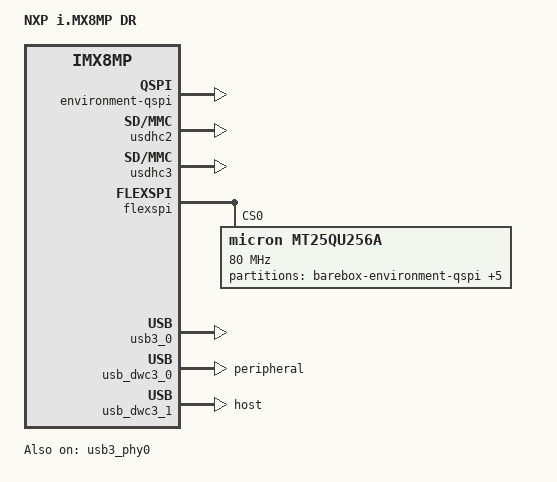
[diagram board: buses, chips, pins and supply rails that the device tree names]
// SPDX-License-Identifier: (GPL-2.0 OR MIT)
/*
 * Copyright 2017 Data Respons
 */

/dts-v1/;

#include <arm64/freescale/imx8mp-evk.dts>
#include "imx8mp.dtsi"

/ {
	model = "NXP i.MX8MP DR";
	aliases {
		mmc0 = &usdhc3;
		mmc1 = &usdhc2;
		state = &state_sd;
		ethernet0 = &fec;
	};

	chosen {
		environment-sd {
			compatible = "barebox,environment";
			device-path = &usdhc2, "partname:barebox-environment";
			status = "disabled";
		};
		environment-emmc {
			compatible = "barebox,environment";
			device-path = &usdhc3, "partname:barebox-environment";
			status = "disabled";
		};
		environment-qspi {
			compatible = "barebox,environment";
			device-path = &mt25qu256a, "partname:barebox-environment-qspi";
			status = "okay";
		};
	};

	state_sd: state {
		magic = <0x883b86a6>;
		compatible = "barebox,state";
		backend-type = "raw";
		backend = <&backend_state_usdhc>;
		backend-stridesize = <0x200>;
		status = "okay";
		/*backend-storage-type = "circular"; */

		#address-cells = <1>;
		#size-cells = <1>;
		bootstate {
			#address-cells = <1>;
			#size-cells = <1>;
			last_chosen {
				reg = <0x0 0x4>;
				type = "uint32";
			};
			system0 {
				#address-cells = <1>;
				#size-cells = <1>;
				remaining_attempts {
					reg = <0x4 0x4>;
					type = "uint32";
					default = <3>;
				};
				priority {
					reg = <0x8 0x4>;
					type = "uint32";
					default = <21>;
				};
				ok {
					reg = <0xc 0x4>;
					type = "uint32";
					default = <0>;
				};
			};
			system1 {
				#address-cells = <1>;
				#size-cells = <1>;
				remaining_attempts {
					reg = <0x10 0x4>;
					type = "uint32";
					default = <3>;
				};
				priority {
					reg = <0x14 0x4>;
					type = "uint32";
					default = <20>;
				};
				ok {
					reg = <0x18 0x4>;
					type = "uint32";
					default = <0>;
				};
			};
		};
	};

	gpio-leds {
		status {
			barebox,default-trigger = "heartbeat";
		};
	};


};

&iomuxc {
	pinctrl_flexspi0: flexspi0grp {
		fsl,pins = <
			MX8MP_IOMUXC_NAND_ALE__FLEXSPI_A_SCLK           0x1c2
			MX8MP_IOMUXC_NAND_CE0_B__FLEXSPI_A_SS0_B        0x82
			MX8MP_IOMUXC_NAND_DATA00__FLEXSPI_A_DATA00      0x82
			MX8MP_IOMUXC_NAND_DATA01__FLEXSPI_A_DATA01      0x82
			MX8MP_IOMUXC_NAND_DATA02__FLEXSPI_A_DATA02      0x82
			MX8MP_IOMUXC_NAND_DATA03__FLEXSPI_A_DATA03      0x82
		>;
	};
};


&ethphy1 {
	reset-assert-us = <15000>;
	reset-deassert-us = <100000>;
};

&fec {
	status = "disabled";
};

&usdhc2 {
	status = "okay";
};

&usdhc3 {
	status = "okay";

	partitions {
		compatible = "fixed-partitions";
		#size-cells = <1>;
		#address-cells = <1>;
		partition@0 {
			label = "barebox";
			reg = <0x0 0xe0000>;
		};

		partition@e0000 {
			label = "barebox-environment";
			reg = <0xe0000 0x20000>;
		};

		backend_state_usdhc: partition@100000 {
			reg = <0x100000 0x100000>;
			label = "state-emmc";
		};
	};
};

&ocotp {
	barebox,provide-mac-address = <&fec 0x640>;
};

&flexspi {
	pinctrl-names = "default";
	pinctrl-0 = <&pinctrl_flexspi0>;
	status = "okay";

	mt25qu256a: flash@0 {
		reg = <0>;
		#address-cells = <1>;
		#size-cells = <1>;
		compatible = "micron,mt25qu256a", "jedec,spi-nor";
		spi-max-frequency = <80000000>;
		spi-tx-bus-width = <1>;
		spi-rx-bus-width = <4>;
		spi-nor,ddr-quad-read-dummy = <6>;

	};
};

&mt25qu256a {
	partitions {
		compatible = "fixed-partitions";
		#address-cells = <1>;
		#size-cells = <1>;

		partition@0 {
			label = "barebox-environment-qspi";
			reg = <0x0 0x200000>;
		};

		backend_state_qspi: state@200000 {
			label = "barebox-state";
			reg = <0x200000 0x200000>;
		};

		partition@400000 {
			label = "system_a";
			reg = <0x400000 0x40000>;
		};
		partition@440000 {
			label = "system_b";
			reg = <0x440000 0x40000>;
		};

		partition@480000 {
			label = "user_a";
			reg = <0x480000 0x40000>;
		};
		partition@4c0000 {
			label = "user_b";
			reg = <0x4c0000 0x40000>;
		};
	};
};

&usb3_phy0 {
	status = "okay";
};

&usb3_0 {
	status = "okay";
};

&usb_dwc3_0 {
	status = "okay";
	dr_mode = "peripheral";
};

&usb_dwc3_1 {
	pinctrl-names = "default";
	pinctrl-0 = <&pinctrl_usb1_vbus>;
	dr_mode = "host";
	status = "okay";
};

&iomuxc {
		pinctrl_hog: hoggrp {
		fsl,pins = <
			MX8MP_IOMUXC_SAI2_RXC__GPIO4_IO22		0x02	/* EQOS PHY RESET */
			MX8MP_IOMUXC_SAI1_RXD0__GPIO4_IO02		0x02	/* FEC PHY RESET */
		>;
	};
};
